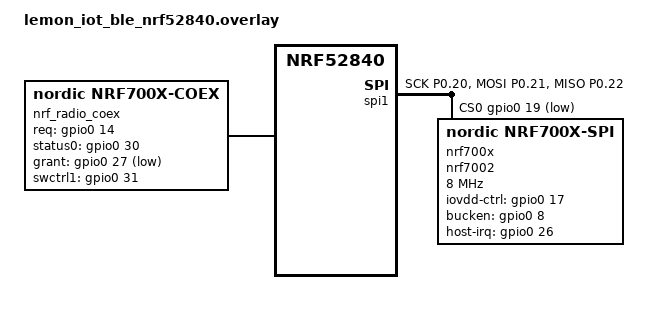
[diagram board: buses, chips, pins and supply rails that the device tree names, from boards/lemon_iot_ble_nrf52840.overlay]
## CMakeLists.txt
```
# SPDX-License-Identifier: Apache-2.0

cmake_minimum_required(VERSION 3.20.0)

find_package(Zephyr REQUIRED HINTS $ENV{ZEPHYR_BASE})
project(eth_mac)

FILE(GLOB app_sources src/*.c)
target_sources(app PRIVATE ${app_sources})
```

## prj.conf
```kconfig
# Logging
CONFIG_LOG=y
CONFIG_NET_LOG=y
CONFIG_LOG_BUFFER_SIZE=4096

# Network
CONFIG_NETWORKING=y
CONFIG_NET_L2_ETHERNET=y
```

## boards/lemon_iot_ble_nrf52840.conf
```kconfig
# WiFi
CONFIG_WIFI=y
CONFIG_WIFI_NRF700X=y

CONFIG_WIFI_NRF700X_LOG_LEVEL_DBG=y
CONFIG_NRF700X_LOG_VERBOSE=y

# If the nRF700x device is not programmed with an OTP ethernet address, one
# can be overridden by the following.
# Locally administered MAC addresses can be set in the following four ranges
# x2-xx-xx-xx-xx-xx, x6-xx-xx-xx-xx-xx, xA-xx-xx-xx-xx-xx, xE-xx-xx-xx-xx-xx
CONFIG_WIFI_FIXED_MAC_ADDRESS="02:00:00:00:00:01"
```

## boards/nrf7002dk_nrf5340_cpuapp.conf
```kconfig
# WiFi
CONFIG_WIFI=y
CONFIG_WIFI_NRF700X=y

CONFIG_WIFI_NRF700X_LOG_LEVEL_DBG=y
CONFIG_NRF700X_LOG_VERBOSE=y
```

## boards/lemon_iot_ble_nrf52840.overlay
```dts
/*
 * Overlay for Lemon-IoT-BLE-nRF52840 + nRF7002 WiFi 6 Companion IC
 * Copyright (c) 2023 Aaron Mohtar & Co Pty Ltd
 *
 * SPDX-License-Identifier: Apache-2.0
 */

/ {

	nordic_wlan0: nordic_wlan0 {
		compatible = "nordic,wlan0";
		status = "okay";
	};

	chosen {
		zephyr,wifi = &nordic_wlan0;
	};

	nrf70_tx_power_ceiling: nrf70_tx_power_ceiling_node {
		status = "okay";
		compatible = "nordic,nrf700x-tx-power-ceiling";
		max-pwr-2g-dsss = <0x54>;
		max-pwr-2g-mcs0 = <0x40>;
		max-pwr-2g-mcs7 = <0x40>;
		max-pwr-5g-low-mcs0 = <0x34>;
		max-pwr-5g-low-mcs7 = <0x34>;
		max-pwr-5g-mid-mcs0 = <0x34>;
		max-pwr-5g-mid-mcs7 = <0x34>;
		max-pwr-5g-high-mcs0 = <0x30>;
		max-pwr-5g-high-mcs7 = <0x30>;
	};

	nrf_radio_coex: nrf7002-coex {
		status = "okay";
		compatible = "nordic,nrf700x-coex";
		req-gpios = <&gpio0 14 GPIO_ACTIVE_HIGH>;
		status0-gpios = <&gpio0 30 GPIO_ACTIVE_HIGH>;
		grant-gpios = <&gpio0 27 (GPIO_PULL_DOWN | GPIO_ACTIVE_LOW)>;
		swctrl1-gpios = <&gpio0 31 GPIO_ACTIVE_HIGH>;
		//btrf-switch-gpios = <&gpio1 10 GPIO_ACTIVE_HIGH>;
	};
};

&spi1 {
	status = "okay";
	pinctrl-0 = <&spi1_default>;
	pinctrl-1 = <&spi1_sleep>;
	cs-gpios = <&gpio0 19 GPIO_ACTIVE_LOW>;
	pinctrl-names = "default", "sleep";
	nrf700x: nrf7002@0 {
		status = "okay";
		compatible = "nordic,nrf700x-spi";
		reg = <0>;
		spi-max-frequency = <DT_FREQ_M(8)>;
		/* Wi-Fi Pins used */
		iovdd-ctrl-gpios = <&gpio0 17 GPIO_ACTIVE_HIGH>;
		bucken-gpios = <&gpio0 8 GPIO_ACTIVE_HIGH>;
		host-irq-gpios = <&gpio0 26 GPIO_ACTIVE_HIGH>;
	};
};

&pinctrl {
	spi1_default: spi1_default {
		group1 {
			psels = <NRF_PSEL(SPIM_SCK, 0, 20)>,
					<NRF_PSEL(SPIM_MOSI, 0, 21)>,
					<NRF_PSEL(SPIM_MISO, 0, 22)>;
		};
	};

	spi1_sleep: spi1_sleep {
		group1 {
			psels = <NRF_PSEL(SPIM_SCK, 0, 20)>,
					<NRF_PSEL(SPIM_MOSI, 0, 21)>,
					<NRF_PSEL(SPIM_MISO, 0, 22)>;
			low-power-enable;
		};
	};
};
```

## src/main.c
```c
/*
 * Copyright (c) 2023 Craig Peacock.
 *
 * SPDX-License-Identifier: Apache-2.0
 */

#include <zephyr/kernel.h>
#include <zephyr/net/net_if.h>
#include <zephyr/logging/log.h>

LOG_MODULE_REGISTER(main);

void print_macaddr(void)
{
	struct net_if *iface = net_if_get_default();
	if (iface == NULL) {
		LOG_ERR("No default network interface found");
		return;
	} else {
		LOG_INF("Default network interface found");
	}

	struct net_linkaddr *linkaddr = net_if_get_link_addr(iface);
	if (linkaddr->type == NET_LINK_ETHERNET)
	{
		if (linkaddr->len == 6) {
			LOG_INF("Ethernet MAC Address %02X:%02X:%02X:%02X:%02X:%02X",
					linkaddr->addr[0], linkaddr->addr[1], linkaddr->addr[2],
					linkaddr->addr[3], linkaddr->addr[4], linkaddr->addr[5]);
		}
	}
}

int main(void)
{
	LOG_INF("WiFi/Ethernet Example");
	LOG_INF("Board: %s", CONFIG_BOARD);

	print_macaddr();

	return(0);
}
```
